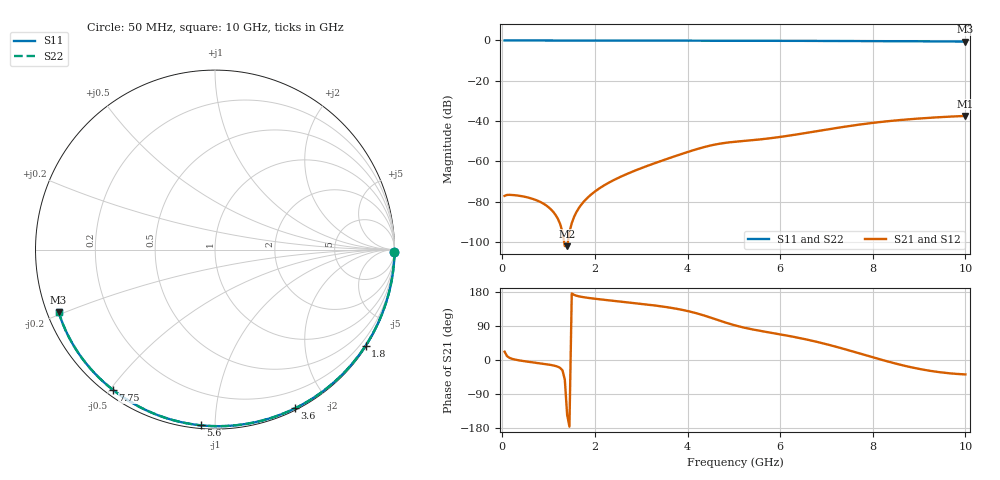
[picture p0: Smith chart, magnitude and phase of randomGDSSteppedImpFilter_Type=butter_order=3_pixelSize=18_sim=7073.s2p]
! freq	dB(S11)	phase(S11)	dB(S12)	phase(S12)
!  dB(S21)	phase(S21)	dB(S22)	phase(S22)
!S-par simulation data
#  GHz  S  DB  R 50
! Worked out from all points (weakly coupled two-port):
!   200 points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, 50 MHz to 10 GHz, reference 50 ohm
!   highest |S21| = -37.49 dB at 10 GHz (marker M1); lowest = -102.2 dB at 1.4 GHz (marker M2)
!   lowest |S11| = -0.6 dB at 10 GHz (marker M3), VSWR 31.34, Z = 1.65 - j9.6 ohm
!   |S11| at or under -10 dB: nowhere
!   |S22| runs from -0.6 to 0.0 dB; largest |S21 - S12| = 0
!   S11 on the Smith chart (normalised r, x): 50 MHz: open; 1.8 GHz: 0.03, -3.43; 3.6 GHz: 0.02, -1.62; 5.6 GHz: 0.02, -0.92; 7.75 GHz: 0.02, -0.51; 10 GHz: 0.03, -0.19
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0.05  -0.00 -0.9  -77.19 21.9  -77.19 21.9  -0.00 -0.9
0.15  -0.00 -2.8  -76.67 6.1  -76.67 6.1  -0.00 -2.8
0.4  -0.00 -7.3  -77.24 -1.8  -77.24 -1.8  -0.00 -7.3
0.6  -0.01 -11.0  -78.27 -5.2  -78.27 -5.2  -0.01 -11.0
0.8  -0.01 -14.6  -79.97 -8.4  -79.97 -8.4  -0.01 -14.6
1.4  -0.03 -25.4  -102.15 -144.5  -102.15 -144.5  -0.03 -25.4
1.75  -0.04 -31.6  -80.29 165.8  -80.29 165.8  -0.04 -31.6
1.8  -0.04 -32.5  -79.03 164.8  -79.03 164.8  -0.04 -32.5
2.05  -0.05 -36.9  -74.18 160.9  -74.18 160.9  -0.05 -36.9
2.4  -0.06 -43.0  -69.42 156.2  -69.42 156.2  -0.06 -43.0
2.85  -0.07 -50.7  -64.77 150.3  -64.77 150.3  -0.07 -50.7
3.4  -0.08 -59.9  -60.07 142.2  -60.07 142.2  -0.08 -59.9
3.6  -0.08 -63.2  -58.48 138.6  -58.48 138.6  -0.08 -63.2
4.45  -0.11 -77.0  -52.42 113.9  -52.42 113.9  -0.11 -77.0
4.7  -0.12 -80.9  -51.25 103.6  -51.25 103.6  -0.12 -80.9
5.05  -0.13 -86.3  -50.25 90.6  -50.25 90.6  -0.13 -86.3
5.6  -0.16 -94.7  -49.06 76.2  -49.06 76.2  -0.16 -94.7
6.7  -0.22 -110.9  -45.41 50.5  -45.41 50.5  -0.22 -110.9
7.75  -0.30 -126.0  -41.66 16.1  -41.66 16.1  -0.30 -126.0
8.35  -0.34 -134.6  -40.04 -4.8  -40.04 -4.8  -0.34 -134.6
9.2  -0.43 -146.6  -38.45 -27.8  -38.45 -27.8  -0.43 -146.6
10  -0.55 -158.2  -37.49 -38.1  -37.49 -38.1  -0.55 -158.2
